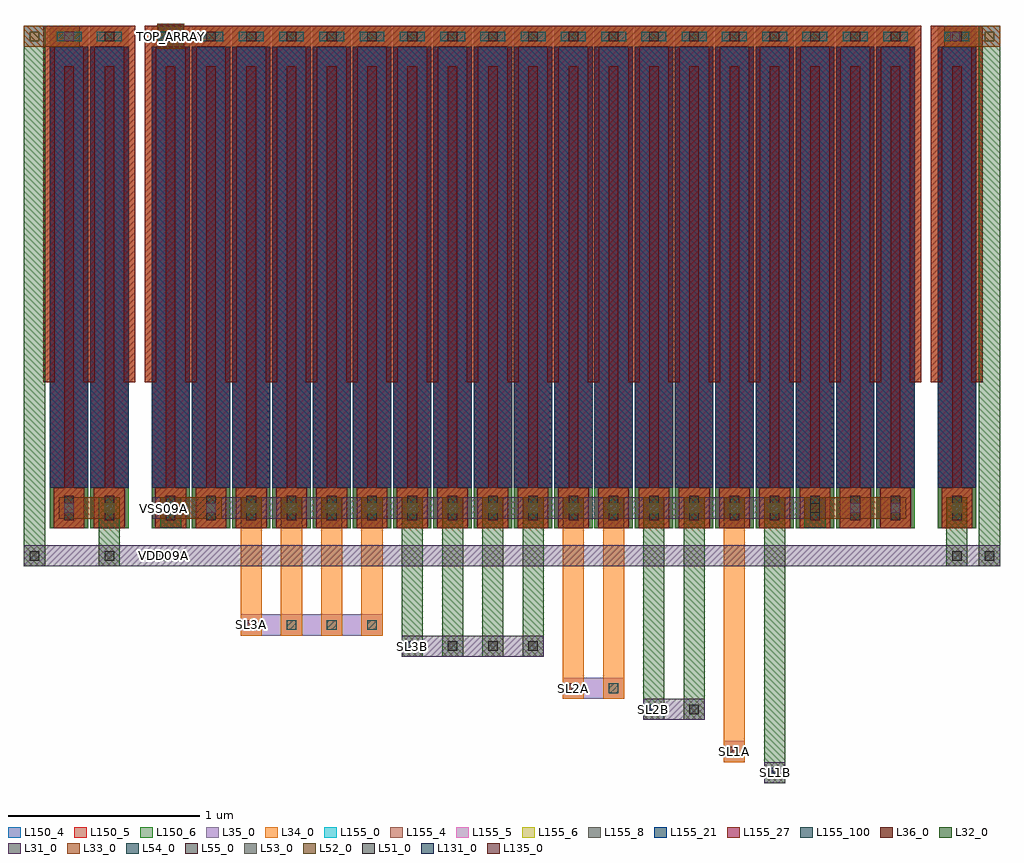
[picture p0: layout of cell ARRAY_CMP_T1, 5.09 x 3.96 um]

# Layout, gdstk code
from math import pi, radians
import gdstk
lib = gdstk.Library(unit=1e-6, precision=1e-09)
def R(c, l, rs):  # rectangles x0, y0, x1, y1
    for r in rs: c.add(gdstk.rectangle(r[:2], r[2:], *l))
def A(c, l, x, y, w, h, nx, ny, dx, dy):  # array of equal rectangles
    R(c, l, [(x+i*dx, y+j*dy, x+i*dx+w, y+j*dy+h) for i in range(nx) for j in range(ny)])
L31_0 = (31, 0)
L32_0 = (32, 0)
L33_0 = (33, 0)
L34_0 = (34, 0)
L35_0 = (35, 0)
L36_0 = (36, 0)
L51_0 = (51, 0)
L52_0 = (52, 0)
L53_0 = (53, 0)
L54_0 = (54, 0)
L55_0 = (55, 0)
L131_0 = (131, 0)
L135_0 = (135, 0)
L150_4 = (150, 4)
L150_5 = (150, 5)
L150_6 = (150, 6)
L155_0 = (155, 0)
L155_4 = (155, 4)
L155_5 = (155, 5)
L155_6 = (155, 6)
L155_8 = (155, 8)
L155_21 = (155, 21)
L155_27 = (155, 27)
L155_100 = (155, 100)

m5_m4_cdns_615811703937 = lib.new_cell('M5_M4_CDNS_615811703937')
R(m5_m4_cdns_615811703937, L34_0, [(-0.07,-0.105,0.07,0.105)])
R(m5_m4_cdns_615811703937, L35_0, [(-0.07,-0.105,0.07,0.105)])
R(m5_m4_cdns_615811703937, L54_0, [(-0.025,-0.065,0.025,0.065)])

m6_m5_cdns_615811703938 = lib.new_cell('M6_M5_CDNS_615811703938')
R(m6_m5_cdns_615811703938, L35_0, [(-0.07,-0.105,0.07,0.105)])
R(m6_m5_cdns_615811703938, L36_0, [(-0.055,-0.105,0.055,0.105)])
R(m6_m5_cdns_615811703938, L55_0, [(-0.025,-0.065,0.025,0.065)])

m5_m4_cdns_615811703939 = lib.new_cell('M5_M4_CDNS_615811703939')
R(m5_m4_cdns_615811703939, L34_0, [(-0.095,-0.055,0.095,0.055)])
R(m5_m4_cdns_615811703939, L35_0, [(-0.12,-0.055,0.12,0.055)])
R(m5_m4_cdns_615811703939, L54_0, [(-0.065,-0.025,0.065,0.025)])

m6_m5_cdns_6158117039310 = lib.new_cell('M6_M5_CDNS_6158117039310')
R(m6_m5_cdns_6158117039310, L35_0, [(-0.055,-0.055,0.055,0.055)])
R(m6_m5_cdns_6158117039310, L36_0, [(-0.055,-0.055,0.055,0.055)])
R(m6_m5_cdns_6158117039310, L55_0, [(-0.025,-0.025,0.025,0.025)])

cu1f = lib.new_cell('CU1F')
R(cu1f, L34_0, [(0.02,0,0.18,0.21), (-0.035,2.51,0.235,2.62)])
R(cu1f, L35_0, [(0.02,0,0.18,0.21), (-0.035,2.51,0.235,2.62)])
R(cu1f, L36_0, [(0.02,0,0.18,0.21), (-0.035,2.51,0.235,2.62)])
R(cu1f, L150_4, [(0,0,0.2,2.62)])
R(cu1f, L150_5, [(0,0,0.2,2.62)])
R(cu1f, L150_6, [(0,0,0.2,2.62)])
R(cu1f, L155_0, [(0,0.21,0.2,2.51)])
R(cu1f, L155_4, [(0,0.21,0.2,2.51)])
R(cu1f, L155_5, [(0,0.21,0.2,2.51)])
R(cu1f, L155_6, [(0,0.21,0.2,2.51)])
R(cu1f, L155_8, [(0,0.21,0.2,2.51)])
R(cu1f, L155_21, [(0,0.21,0.2,2.51)])
R(cu1f, L155_27, [(0,0.21,0.2,2.51)])
R(cu1f, L155_100, [(0,0.21,0.2,2.51)])
cu1f.add(gdstk.FlexPath([(0.205,2.59),(0.205,0.76)], 0.06, ends=(0.03, 0), simple_path=True, layer=34, datatype=0))  # L34_0
cu1f.add(gdstk.FlexPath([(0.1,2.41),(0.1,0)], 0.05, ends="flush", simple_path=True, layer=34, datatype=0))  # L34_0
cu1f.add(gdstk.FlexPath([(-0.005,2.59),(-0.005,0.76)], 0.06, ends=(0.03, 0), simple_path=True, layer=34, datatype=0))  # L34_0
cu1f.add(gdstk.FlexPath([(0.205,0.76),(0.205,2.59)], 0.06, ends=(0, 0.03), simple_path=True, layer=35, datatype=0))  # L35_0
cu1f.add(gdstk.FlexPath([(0.1,2.41),(0.1,0)], 0.05, ends="flush", simple_path=True, layer=35, datatype=0))  # L35_0
cu1f.add(gdstk.FlexPath([(-0.005,0.76),(-0.005,2.59)], 0.06, ends=(0, 0.03), simple_path=True, layer=35, datatype=0))  # L35_0
cu1f.add(gdstk.FlexPath([(0.205,0.76),(0.205,2.59)], 0.06, ends=(0, 0.03), simple_path=True, layer=36, datatype=0))  # L36_0
cu1f.add(gdstk.FlexPath([(0.1,2.41),(0.1,0)], 0.05, ends="flush", simple_path=True, layer=36, datatype=0))  # L36_0
cu1f.add(gdstk.FlexPath([(-0.005,0.76),(-0.005,2.59)], 0.06, ends=(0, 0.03), simple_path=True, layer=36, datatype=0))  # L36_0
cu1f.add(gdstk.Reference(m5_m4_cdns_615811703937, (0.1,0.105), rotation=pi, x_reflection=True))
cu1f.add(gdstk.Reference(m6_m5_cdns_615811703938, (0.1,0.105), rotation=pi, x_reflection=True))
cu1f.add(gdstk.Reference(m5_m4_cdns_615811703939, (0.1,2.565)))
cu1f.add(gdstk.Reference(m6_m5_cdns_6158117039310, (0.1,2.565)))

m2_m1_cdns_615811703930 = lib.new_cell('M2_M1_CDNS_615811703930')
R(m2_m1_cdns_615811703930, L31_0, [(-0.055,-0.055,0.055,0.055)])
R(m2_m1_cdns_615811703930, L32_0, [(-0.055,-0.055,0.055,0.055)])
R(m2_m1_cdns_615811703930, L51_0, [(-0.025,-0.025,0.025,0.025)])

m3_m2_cdns_615811703931 = lib.new_cell('M3_M2_CDNS_615811703931')
R(m3_m2_cdns_615811703931, L32_0, [(-0.055,-0.055,0.055,0.055)])
R(m3_m2_cdns_615811703931, L33_0, [(-0.055,-0.055,0.055,0.055)])
R(m3_m2_cdns_615811703931, L52_0, [(-0.025,-0.025,0.025,0.025)])

m4_m3_cdns_615811703932 = lib.new_cell('M4_M3_CDNS_615811703932')
R(m4_m3_cdns_615811703932, L33_0, [(-0.055,-0.055,0.055,0.055)])
R(m4_m3_cdns_615811703932, L34_0, [(-0.055,-0.055,0.055,0.055)])
R(m4_m3_cdns_615811703932, L53_0, [(-0.025,-0.025,0.025,0.025)])

m4_m3_cdns_615811703933 = lib.new_cell('M4_M3_CDNS_615811703933')
R(m4_m3_cdns_615811703933, L33_0, [(-0.07,-0.065,0.07,0.065)])
R(m4_m3_cdns_615811703933, L34_0, [(-0.055,-0.055,0.055,0.055)])
R(m4_m3_cdns_615811703933, L53_0, [(-0.025,-0.025,0.025,0.025)])

m3_m2_cdns_615811703934 = lib.new_cell('M3_M2_CDNS_615811703934')
R(m3_m2_cdns_615811703934, L32_0, [(-0.065,-0.06,0.065,0.06)])
R(m3_m2_cdns_615811703934, L33_0, [(-0.07,-0.065,0.07,0.065)])
R(m3_m2_cdns_615811703934, L52_0, [(-0.025,-0.025,0.025,0.025)])

m2_m1_cdns_615811703935 = lib.new_cell('M2_M1_CDNS_615811703935')
R(m2_m1_cdns_615811703935, L31_0, [(-0.055,-0.055,0.055,0.055)])
R(m2_m1_cdns_615811703935, L32_0, [(-0.065,-0.06,0.065,0.06)])
R(m2_m1_cdns_615811703935, L51_0, [(-0.025,-0.025,0.025,0.025)])

m5_m4_cdns_615811703936 = lib.new_cell('M5_M4_CDNS_615811703936')
R(m5_m4_cdns_615811703936, L34_0, [(-0.055,-0.055,0.055,0.055)])
R(m5_m4_cdns_615811703936, L35_0, [(-0.055,-0.055,0.055,0.055)])
R(m5_m4_cdns_615811703936, L54_0, [(-0.025,-0.025,0.025,0.025)])

array_cmp_t1 = lib.new_cell('ARRAY_CMP_T1')
R(array_cmp_t1, L31_0, [(3.725,-1.33,3.835,-1.22), (3.095,-1,3.415,-0.89), (1.835,-0.67,2.575,-0.56), (-0.135,-0.2,4.955,-0.09), (0.535,0.05,4.045,0.16), (0.56,2.5,0.7,2.63)])
A(array_cmp_t1, L32_0, 1.835, -0.67, 0.11, 0.83, 4, 1, 0.21, 0)
R(array_cmp_t1, L32_0, [(3.725,-1.33,3.835,0.16), (3.095,-1,3.205,0.16), (3.305,-1,3.415,0.16), (-0.135,-0.2,-0.025,2.62), (0.255,-0.2,0.365,0.16), (4.675,-0.2,4.785,0.16), (4.845,-0.2,4.955,2.62), (0.575,0,0.685,0.16), (3.935,0,4.045,0.16)])
A(array_cmp_t1, L33_0, 0.995, 0, 0.11, 0.16, 14, 1, 0.21, 0)
R(array_cmp_t1, L33_0, [(4.675,0,4.785,0.16), (0.045,0.05,0.365,0.16), (0.575,0.05,0.895,0.16), (3.935,0.05,4.465,0.16), (-0.135,2.51,0.155,2.62), (4.665,2.51,4.955,2.62)])
A(array_cmp_t1, L34_0, 0.995, -0.56, 0.11, 0.72, 4, 1, 0.21, 0)
R(array_cmp_t1, L34_0, [(3.515,-1.22,3.625,0.16), (2.675,-0.89,2.785,0.16), (2.885,-0.89,2.995,0.16)])
R(array_cmp_t1, L35_0, [(3.515,-1.22,3.625,-1.11), (2.675,-0.89,2.995,-0.78), (0.995,-0.56,1.735,-0.45)])
R(array_cmp_t1, L131_0, [(3.76,-1.3,3.81,-1.25), (3.125,-0.97,3.175,-0.92), (1.865,-0.64,1.915,-0.59), (0.565,-0.17,0.615,-0.12), (0.565,0.08,0.615,0.13), (0.605,2.54,0.655,2.59)])
R(array_cmp_t1, L135_0, [(3.545,-1.19,3.595,-1.14), (2.705,-0.86,2.755,-0.81), (1.025,-0.53,1.075,-0.48)])
array_cmp_t1.add(gdstk.Reference(cu1f, (0,0)))
array_cmp_t1.add(gdstk.Reference(cu1f, (0.21,0)))
array_cmp_t1.add(gdstk.Reference(cu1f, (0.53,0)))
array_cmp_t1.add(gdstk.Reference(cu1f, (0.74,0)))
array_cmp_t1.add(gdstk.Reference(cu1f, (4.63,0)))
array_cmp_t1.add(gdstk.Reference(cu1f, (4.31,0)))
array_cmp_t1.add(gdstk.Reference(cu1f, (4.1,0)))
array_cmp_t1.add(gdstk.Reference(cu1f, (3.89,0)))
array_cmp_t1.add(gdstk.Reference(cu1f, (3.68,0)))
array_cmp_t1.add(gdstk.Reference(cu1f, (3.47,0)))
array_cmp_t1.add(gdstk.Reference(cu1f, (3.26,0)))
array_cmp_t1.add(gdstk.Reference(cu1f, (3.05,0)))
array_cmp_t1.add(gdstk.Reference(cu1f, (2.84,0)))
array_cmp_t1.add(gdstk.Reference(cu1f, (2.63,0)))
array_cmp_t1.add(gdstk.Reference(cu1f, (2.42,0)))
array_cmp_t1.add(gdstk.Reference(cu1f, (2.21,0)))
array_cmp_t1.add(gdstk.Reference(cu1f, (2,0)))
array_cmp_t1.add(gdstk.Reference(cu1f, (1.79,0)))
array_cmp_t1.add(gdstk.Reference(cu1f, (1.58,0)))
array_cmp_t1.add(gdstk.Reference(cu1f, (1.37,0)))
array_cmp_t1.add(gdstk.Reference(cu1f, (1.16,0)))
array_cmp_t1.add(gdstk.Reference(cu1f, (0.95,0)))
array_cmp_t1.add(gdstk.Reference(m2_m1_cdns_615811703930, (2.52,-0.615)))
array_cmp_t1.add(gdstk.Reference(m2_m1_cdns_615811703930, (4.9,-0.145)))
array_cmp_t1.add(gdstk.Reference(m2_m1_cdns_615811703930, (-0.08,-0.145)))
array_cmp_t1.add(gdstk.Reference(m2_m1_cdns_615811703930, (3.99,0.105)))
array_cmp_t1.add(gdstk.Reference(m2_m1_cdns_615811703930, (4.73,-0.145)))
array_cmp_t1.add(gdstk.Reference(m2_m1_cdns_615811703930, (0.31,-0.145)))
array_cmp_t1.add(gdstk.Reference(m2_m1_cdns_615811703930, (2.31,-0.615)))
array_cmp_t1.add(gdstk.Reference(m2_m1_cdns_615811703930, (2.1,-0.615)))
array_cmp_t1.add(gdstk.Reference(m2_m1_cdns_615811703930, (3.78,-1.275)))
array_cmp_t1.add(gdstk.Reference(m2_m1_cdns_615811703930, (1.89,-0.615)))
array_cmp_t1.add(gdstk.Reference(m2_m1_cdns_615811703930, (3.15,-0.945)))
array_cmp_t1.add(gdstk.Reference(m2_m1_cdns_615811703930, (3.36,-0.945)))
array_cmp_t1.add(gdstk.Reference(m2_m1_cdns_615811703930, (0.63,0.105)))
array_cmp_t1.add(gdstk.Reference(m3_m2_cdns_615811703931, (4.9,2.565)))
array_cmp_t1.add(gdstk.Reference(m3_m2_cdns_615811703931, (-0.08,2.565)))
array_cmp_t1.add(gdstk.Reference(m3_m2_cdns_615811703931, (1.05,0.105)))
array_cmp_t1.add(gdstk.Reference(m3_m2_cdns_615811703931, (1.26,0.105)))
array_cmp_t1.add(gdstk.Reference(m3_m2_cdns_615811703931, (1.47,0.105)))
array_cmp_t1.add(gdstk.Reference(m3_m2_cdns_615811703931, (1.68,0.105)))
array_cmp_t1.add(gdstk.Reference(m3_m2_cdns_615811703931, (1.89,0.105)))
array_cmp_t1.add(gdstk.Reference(m3_m2_cdns_615811703931, (2.1,0.105)))
array_cmp_t1.add(gdstk.Reference(m3_m2_cdns_615811703931, (2.31,0.105)))
array_cmp_t1.add(gdstk.Reference(m3_m2_cdns_615811703931, (2.52,0.105)))
array_cmp_t1.add(gdstk.Reference(m3_m2_cdns_615811703931, (2.73,0.105)))
array_cmp_t1.add(gdstk.Reference(m3_m2_cdns_615811703931, (2.94,0.105)))
array_cmp_t1.add(gdstk.Reference(m3_m2_cdns_615811703931, (3.15,0.105)))
array_cmp_t1.add(gdstk.Reference(m3_m2_cdns_615811703931, (3.36,0.105)))
array_cmp_t1.add(gdstk.Reference(m3_m2_cdns_615811703931, (3.57,0.105)))
array_cmp_t1.add(gdstk.Reference(m3_m2_cdns_615811703931, (3.78,0.105)))
array_cmp_t1.add(gdstk.Reference(m3_m2_cdns_615811703931, (4.73,0.105)))
array_cmp_t1.add(gdstk.Reference(m3_m2_cdns_615811703931, (3.99,0.105)))
array_cmp_t1.add(gdstk.Reference(m3_m2_cdns_615811703931, (0.63,0.105)))
array_cmp_t1.add(gdstk.Reference(m3_m2_cdns_615811703931, (0.31,0.105)))
array_cmp_t1.add(gdstk.Reference(m4_m3_cdns_615811703932, (4.72,2.565), rotation=pi, x_reflection=True))
array_cmp_t1.add(gdstk.Reference(m4_m3_cdns_615811703932, (0.1,2.565)))
array_cmp_t1.add(gdstk.Reference(m4_m3_cdns_615811703932, (1.05,0.105)))
array_cmp_t1.add(gdstk.Reference(m4_m3_cdns_615811703932, (1.26,0.105)))
array_cmp_t1.add(gdstk.Reference(m4_m3_cdns_615811703932, (1.47,0.105)))
array_cmp_t1.add(gdstk.Reference(m4_m3_cdns_615811703932, (1.68,0.105)))
array_cmp_t1.add(gdstk.Reference(m4_m3_cdns_615811703932, (1.89,0.105)))
array_cmp_t1.add(gdstk.Reference(m4_m3_cdns_615811703932, (2.1,0.105)))
array_cmp_t1.add(gdstk.Reference(m4_m3_cdns_615811703932, (2.31,0.105)))
array_cmp_t1.add(gdstk.Reference(m4_m3_cdns_615811703932, (2.52,0.105)))
array_cmp_t1.add(gdstk.Reference(m4_m3_cdns_615811703932, (2.73,0.105)))
array_cmp_t1.add(gdstk.Reference(m4_m3_cdns_615811703932, (2.94,0.105)))
array_cmp_t1.add(gdstk.Reference(m4_m3_cdns_615811703932, (3.15,0.105)))
array_cmp_t1.add(gdstk.Reference(m4_m3_cdns_615811703932, (3.36,0.105)))
array_cmp_t1.add(gdstk.Reference(m4_m3_cdns_615811703932, (3.57,0.105)))
array_cmp_t1.add(gdstk.Reference(m4_m3_cdns_615811703932, (3.78,0.105)))
array_cmp_t1.add(gdstk.Reference(m4_m3_cdns_615811703932, (4.73,0.105)))
array_cmp_t1.add(gdstk.Reference(m4_m3_cdns_615811703932, (4.2,0.105)))
array_cmp_t1.add(gdstk.Reference(m4_m3_cdns_615811703932, (4.41,0.105)))
array_cmp_t1.add(gdstk.Reference(m4_m3_cdns_615811703932, (3.99,0.105)))
array_cmp_t1.add(gdstk.Reference(m4_m3_cdns_615811703932, (0.84,0.105)))
array_cmp_t1.add(gdstk.Reference(m4_m3_cdns_615811703932, (0.63,0.105)))
array_cmp_t1.add(gdstk.Reference(m4_m3_cdns_615811703932, (0.1,0.105)))
array_cmp_t1.add(gdstk.Reference(m4_m3_cdns_615811703932, (0.31,0.105)))
array_cmp_t1.add(gdstk.Reference(m4_m3_cdns_615811703933, (0.63,2.565)))
array_cmp_t1.add(gdstk.Reference(m3_m2_cdns_615811703934, (0.63,2.565)))
array_cmp_t1.add(gdstk.Reference(m2_m1_cdns_615811703935, (0.63,2.565)))
array_cmp_t1.add(gdstk.Reference(m5_m4_cdns_615811703936, (1.47,-0.505)))
array_cmp_t1.add(gdstk.Reference(m5_m4_cdns_615811703936, (2.94,-0.835)))
array_cmp_t1.add(gdstk.Reference(m5_m4_cdns_615811703936, (2.73,-0.835)))
array_cmp_t1.add(gdstk.Reference(m5_m4_cdns_615811703936, (1.26,-0.505)))
array_cmp_t1.add(gdstk.Reference(m5_m4_cdns_615811703936, (3.57,-1.165)))
array_cmp_t1.add(gdstk.Reference(m5_m4_cdns_615811703936, (1.68,-0.505)))
array_cmp_t1.add(gdstk.Reference(m5_m4_cdns_615811703936, (1.05,-0.505)))
array_cmp_t1.add(gdstk.Label('SL3A', (1.05,-0.505), layer=135, texttype=0))
array_cmp_t1.add(gdstk.Label('SL1A', (3.57,-1.165), layer=135, texttype=0))
array_cmp_t1.add(gdstk.Label('SL2A', (2.73,-0.835), layer=135, texttype=0))
array_cmp_t1.add(gdstk.Label('VDD09A', (0.59,-0.145), layer=131, texttype=0))
array_cmp_t1.add(gdstk.Label('SL3B', (1.89,-0.615), layer=131, texttype=0))
array_cmp_t1.add(gdstk.Label('VSS09A', (0.59,0.105), layer=131, texttype=0))
array_cmp_t1.add(gdstk.Label('SL1B', (3.785,-1.275), layer=131, texttype=0))
array_cmp_t1.add(gdstk.Label('SL2B', (3.15,-0.945), layer=131, texttype=0))
array_cmp_t1.add(gdstk.Label('TOP_ARRAY', (0.628,2.565), layer=131, texttype=0))

lib.write_gds('ARRAY_CMP_T1.gds')
